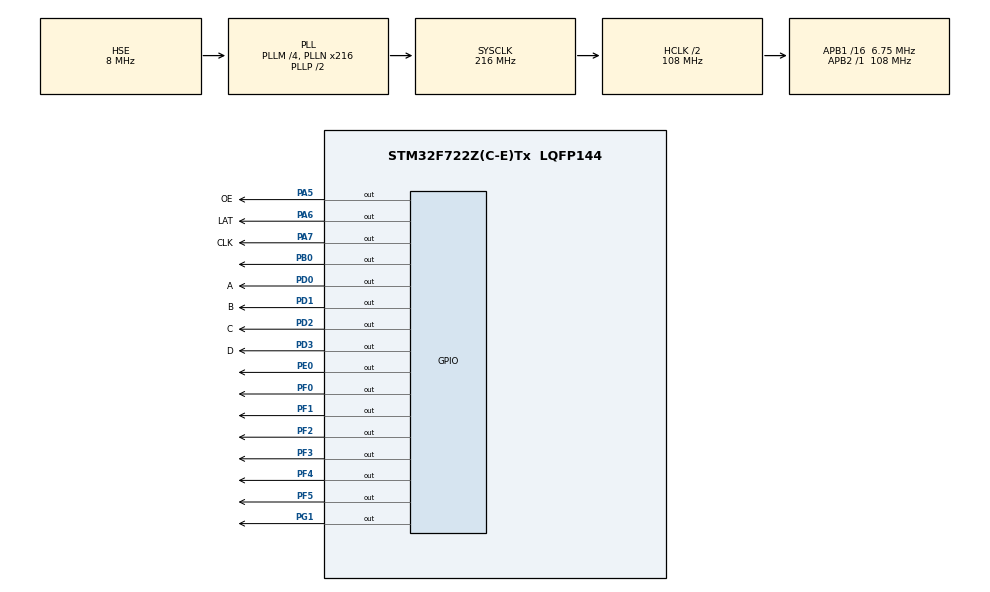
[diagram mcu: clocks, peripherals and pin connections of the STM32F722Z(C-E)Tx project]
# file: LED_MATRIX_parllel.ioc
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Dma.MEMTOMEM.0.Direction=DMA_MEMORY_TO_MEMORY
Dma.MEMTOMEM.0.FIFOMode=DMA_FIFOMODE_ENABLE
Dma.MEMTOMEM.0.FIFOThreshold=DMA_FIFO_THRESHOLD_FULL
Dma.MEMTOMEM.0.Instance=DMA2_Stream0
Dma.MEMTOMEM.0.MemBurst=DMA_MBURST_SINGLE
Dma.MEMTOMEM.0.MemDataAlignment=DMA_MDATAALIGN_WORD
Dma.MEMTOMEM.0.MemInc=DMA_MINC_ENABLE
Dma.MEMTOMEM.0.Mode=DMA_NORMAL
Dma.MEMTOMEM.0.PeriphBurst=DMA_PBURST_SINGLE
Dma.MEMTOMEM.0.PeriphDataAlignment=DMA_PDATAALIGN_WORD
Dma.MEMTOMEM.0.PeriphInc=DMA_PINC_ENABLE
Dma.MEMTOMEM.0.Priority=DMA_PRIORITY_LOW
Dma.MEMTOMEM.1.Direction=DMA_MEMORY_TO_MEMORY
Dma.MEMTOMEM.1.FIFOMode=DMA_FIFOMODE_ENABLE
Dma.MEMTOMEM.1.FIFOThreshold=DMA_FIFO_THRESHOLD_FULL
Dma.MEMTOMEM.1.Instance=DMA2_Stream1
Dma.MEMTOMEM.1.MemBurst=DMA_MBURST_INC4
Dma.MEMTOMEM.1.MemDataAlignment=DMA_MDATAALIGN_WORD
Dma.MEMTOMEM.1.MemInc=DMA_MINC_ENABLE
Dma.MEMTOMEM.1.Mode=DMA_NORMAL
Dma.MEMTOMEM.1.PeriphBurst=DMA_PBURST_INC4
Dma.MEMTOMEM.1.PeriphDataAlignment=DMA_PDATAALIGN_WORD
Dma.MEMTOMEM.1.PeriphInc=DMA_PINC_ENABLE
Dma.MEMTOMEM.1.Priority=DMA_PRIORITY_LOW
Dma.Request0=MEMTOMEM
Dma.Request1=MEMTOMEM
Mcu.Family=STM32F7
Mcu.Name=STM32F722Z(C-E)Tx
Mcu.Package=LQFP144
NVIC.PriorityGroup=NVIC_PRIORITYGROUP_4
NVIC.TIM1_TRG_COM_TIM11_IRQn=true\:15\:0\:false\:false\:true\:false\:true\:true
NVIC.TimeBase=TIM1_TRG_COM_TIM11_IRQn
NVIC.TimeBaseIP=TIM11
PA13.Mode=Serial_Wire
PA13.Signal=SYS_JTMS-SWDIO
PA14.Mode=Serial_Wire
PA14.Signal=SYS_JTCK-SWCLK
PA5.GPIO_Label=OE
PA5.GPIO_Speed=GPIO_SPEED_FREQ_HIGH
PA5.Signal=GPIO_Output
PA6.GPIO_Label=LAT
PA6.GPIO_Speed=GPIO_SPEED_FREQ_HIGH
PA6.Signal=GPIO_Output
PA7.GPIO_Label=CLK
PA7.GPIO_Speed=GPIO_SPEED_FREQ_HIGH
PA7.Signal=GPIO_Output
PB0.Signal=GPIO_Output
PD0.GPIO_Label=A
PD0.Signal=GPIO_Output
PD1.GPIO_Label=B
PD1.Signal=GPIO_Output
PD2.GPIO_Label=C
PD2.Signal=GPIO_Output
PD3.GPIO_Label=D
PD3.Signal=GPIO_Output
PE0.Signal=GPIO_Output
PF0.GPIO_Speed=GPIO_SPEED_FREQ_HIGH
PF0.Signal=GPIO_Output
PF1.GPIO_Speed=GPIO_SPEED_FREQ_HIGH
PF1.PinState=GPIO_PIN_SET
PF1.Signal=GPIO_Output
PF2.GPIO_Speed=GPIO_SPEED_FREQ_HIGH
PF2.Signal=GPIO_Output
PF3.GPIO_Speed=GPIO_SPEED_FREQ_HIGH
PF3.PinState=GPIO_PIN_SET
PF3.Signal=GPIO_Output
PF4.GPIO_Speed=GPIO_SPEED_FREQ_HIGH
PF4.Signal=GPIO_Output
PF5.GPIO_Speed=GPIO_SPEED_FREQ_HIGH
PF5.Signal=GPIO_Output
PG1.Signal=GPIO_Output
PH0-OSC_IN.Mode=HSE-External-Oscillator
PH0-OSC_IN.Signal=RCC_OSC_IN
PH1-OSC_OUT.Mode=HSE-External-Oscillator
PH1-OSC_OUT.Signal=RCC_OSC_OUT
ProjectManager.HeapSize=0x200
ProjectManager.StackSize=0x400
ProjectManager.TargetToolchain=STM32CubeIDE
RCC.48MHZClocksFreq_Value=24000000
RCC.AHBCLKDivider=RCC_SYSCLK_DIV2
RCC.AHBFreq_Value=108000000
RCC.APB1CLKDivider=RCC_HCLK_DIV16
RCC.APB1Freq_Value=6750000
RCC.APB1TimFreq_Value=13500000
RCC.APB2Freq_Value=108000000
RCC.APB2TimFreq_Value=108000000
RCC.CortexFreq_Value=108000000
RCC.HCLKFreq_Value=108000000
RCC.HSE_VALUE=8000000
RCC.HSI_VALUE=16000000
RCC.LSE_VALUE=32768
RCC.PLLM=4
RCC.PLLMUL=RCC_PLL_MUL9
RCC.PLLN=216
RCC.PLLQ=9
RCC.PLLSourceVirtual=RCC_PLLSOURCE_HSE
RCC.PRESCALERUSB=RCC_USBCLKSOURCE_PLL_DIV1_5
RCC.SYSCLKFreq_VALUE=216000000
RCC.SYSCLKSource=RCC_SYSCLKSOURCE_PLLCLK
RCC.SYSCLKSourceVirtual=RCC_SYSCLKSOURCE_PLLCLK
RCC.USBFreq_Value=48000000
RCC.VCOOutputFreq_Value=432000000
VP_SYS_VS_tim11.Mode=TIM11
board=NUCLEO-F722ZE

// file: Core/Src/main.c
/* USER CODE BEGIN Header */
/**
  ******************************************************************************
  * @file           : main.c
  * @brief          : Main program body
  ******************************************************************************
  * @attention
  *
  * Copyright (c) 2022 STMicroelectronics.
  * All rights reserved.
  *
  * This software is licensed under terms that can be found in the LICENSE file
  * in the root directory of this software component.
  * If no LICENSE file comes with this software, it is provided AS-IS.
  *
  ******************************************************************************
  */
/* USER CODE END Header */
#include "main.h"
#include "dma.h"
#include "gpio.h"

/* USER CODE BEGIN Includes */

#include "obraz.c"

/* USER CODE END Includes */

/* USER CODE BEGIN PV */

uint8_t bufor [6][64][16][8];		//wymiary ekranu z czego jest 16 lini poziomych x2
uint8_t przejsciowy[6][6144];

/* USER CODE END PV */

void SystemClock_Config(void);
/* USER CODE BEGIN PFP */

//void panel (uint8_t z);

/* USER CODE END PFP */

int main(void)
{

  /* MCU Configuration--------------------------------------------------------*/

  /* Reset of all peripherals, Initializes the Flash interface and the Systick. */
  HAL_Init();

  /* Configure the system clock */
  SystemClock_Config();

  /* Initialize all configured peripherals */
  MX_GPIO_Init();
  MX_DMA_Init();
  /* USER CODE BEGIN 2 */

  //przejsciowy[0][6144] = sonic[18432];

  for (int g=0,d=48; g<18432; g+=576,d+=192)
  {
	  for (int f=0,k=0; f<6; f++,k+=96)
	  	  {
	  		  for (int z=0; z<96; z++)
	  		  {
	  			  przejsciowy[f][z+d] = sonic[z+k+g];
	  		  }
	  	  }
  }

for (int scena=0; scena<6; scena++)
{
for (int z=0; z<8; z++) {
	for (int m=0; m<16; m++) {
		for (int k=0; k<64; k++) { //tworzymy tablicę od najważniejszych pixeli

			bufor[scena][k][m][z]  =   	( (przejsciowy[scena] [k*3 + m*192 + 0		 ] & (1<<(7-z)) ) <<z ) >> 7 |
										( (przejsciowy[scena] [k*3 + m*192 + 1		 ] & (1<<(7-z)) ) <<z ) >> 6 |
										( (przejsciowy[scena] [k*3 + m*192 + 2		 ] & (1<<(7-z)) ) <<z ) >> 5 |
										( (przejsciowy[scena] [k*3 + m*192 + 0 + 3072] & (1<<(7-z)) ) <<z ) >> 4 |
										( (przejsciowy[scena] [k*3 + m*192 + 1 + 3072] & (1<<(7-z)) ) <<z ) >> 3 |
										( (przejsciowy[scena] [k*3 + m*192 + 2 + 3072] & (1<<(7-z)) ) <<z ) >> 2 ;
		}
	}
}
}

void panel (uint8_t z, uint8_t scena) {
for (uint8_t y=0; y<16; y++) {							//zapala odpowiednią linię na wyświetlaczu w jednym takcie
for (uint8_t g=0; g<64; g++) {							//wysyłanie danych równolegle

		GPIOF->ODR = bufor[scena][g][y][z];					//ustawienie bitów danych w 16-bitowym rejetrz e ODR (output data register)
		GPIOA->BSRR = 0x00000080; 						//ustawieni bitu CKL w 32-bitowym rejestrze BSRR (bit set/reset register)
		GPIOA->BSRR = 0x00800000; 						//usunięcie bitu CKL w 32-bitowym rejestrze BSRR (bit set/reset register)
}
		GPIOA->BSRR = 0x00000020;						//zgaszenie panelu
		GPIOA->BSRR = 0x00000040;						//wysprzęglenie danych na rejestru właściwy
		GPIOD->ODR=y;
		GPIOA->BSRR = 0x00400000;						//zasprzęglenie danych na rejest właściwy
		GPIOA->BSRR = 0x00200000;						//zaświecenie panelu
}
}

  /* USER CODE END 2 */

  /* Infinite loop */
  /* USER CODE BEGIN WHILE */

uint32_t czas = HAL_GetTick();
uint32_t a=0;

  while (1)
  {
	  //    PANEL PINOUT
	  //      R1 -- G1
	  //  	  B1 -- GND
	  //  	  R2 -- G2
	  //  	  B2 -- GND
	  //  	   A -- B
	  //  	   C -- D
	  //  	 CLK -- LAT
	  //  	  OE -- GND
	  panel (0,a);
	  panel (1,a);
	  panel (0,a);
	  panel (2,a);
	  panel (0,a);
	  panel (1,a);
	  panel (0,a);
	  panel (3,a);
	  panel (0,a);
	  panel (1,a);
	  panel (0,a);
	  panel (2,a);
	  panel (0,a);
	  panel (1,a);
	  panel (0,a);
	  panel (4,a);
	  panel (0,a);
	  panel (1,a);
	  panel (0,a);
	  panel (2,a);
	  panel (0,a);
	  panel (1,a);
	  panel (0,a);
	  panel (3,a);
	  panel (0,a);
	  panel (1,a);
	  panel (0,a);
	  panel (2,a);
	  panel (0,a);
	  panel (1,a);
	  panel (0,a);

	   if ((HAL_GetTick() - czas) > 70)
	   {
		   czas = HAL_GetTick();
		   if(a>=5){a=0;}
		   a++;
	   }

    /* USER CODE END WHILE */

  }
}

void SystemClock_Config(void)
{
  RCC_OscInitTypeDef RCC_OscInitStruct = {0};
  RCC_ClkInitTypeDef RCC_ClkInitStruct = {0};

  /** Configure the main internal regulator output voltage
  */
  __HAL_RCC_PWR_CLK_ENABLE();
  __HAL_PWR_VOLTAGESCALING_CONFIG(PWR_REGULATOR_VOLTAGE_SCALE3);

  /** Initializes the RCC Oscillators according to the specified parameters
  * in the RCC_OscInitTypeDef structure.
  */
  RCC_OscInitStruct.OscillatorType = RCC_OSCILLATORTYPE_HSE;
  RCC_OscInitStruct.HSEState = RCC_HSE_ON;
  RCC_OscInitStruct.PLL.PLLState = RCC_PLL_ON;
  RCC_OscInitStruct.PLL.PLLSource = RCC_PLLSOURCE_HSE;
  RCC_OscInitStruct.PLL.PLLM = 4;
  RCC_OscInitStruct.PLL.PLLN = 216;
  RCC_OscInitStruct.PLL.PLLP = RCC_PLLP_DIV2;
  RCC_OscInitStruct.PLL.PLLQ = 9;
  if (HAL_RCC_OscConfig(&RCC_OscInitStruct) != HAL_OK)
  {
    Error_Handler();
  }

  /** Activate the Over-Drive mode
  */
  if (HAL_PWREx_EnableOverDrive() != HAL_OK)
  {
    Error_Handler();
  }

  /** Initializes the CPU, AHB and APB buses clocks
  */
  RCC_ClkInitStruct.ClockType = RCC_CLOCKTYPE_HCLK|RCC_CLOCKTYPE_SYSCLK
                              |RCC_CLOCKTYPE_PCLK1|RCC_CLOCKTYPE_PCLK2;
  RCC_ClkInitStruct.SYSCLKSource = RCC_SYSCLKSOURCE_PLLCLK;
  RCC_ClkInitStruct.AHBCLKDivider = RCC_SYSCLK_DIV2;
  RCC_ClkInitStruct.APB1CLKDivider = RCC_HCLK_DIV16;
  RCC_ClkInitStruct.APB2CLKDivider = RCC_HCLK_DIV1;

  if (HAL_RCC_ClockConfig(&RCC_ClkInitStruct, FLASH_LATENCY_3) != HAL_OK)
  {
    Error_Handler();
  }
}

void HAL_TIM_PeriodElapsedCallback(TIM_HandleTypeDef *htim)
{
  if (htim->Instance == TIM11) {
    HAL_IncTick();
  }
}

void Error_Handler(void)
{
  __disable_irq();
  while (1)
  {
  }
}
